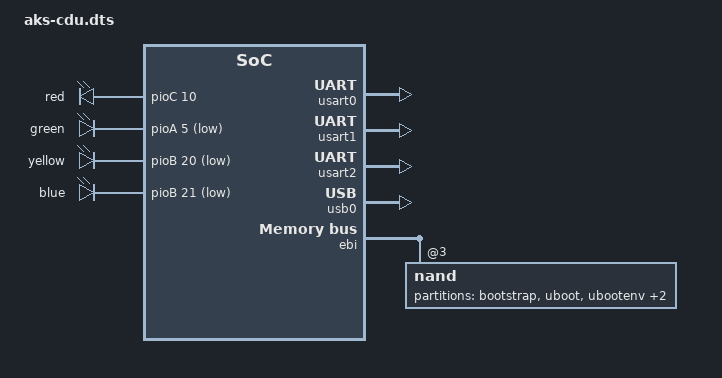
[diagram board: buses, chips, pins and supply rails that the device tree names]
FASTVC-BENCH-CORPUS:linux-main-100k-v1-e0bd41dc-8e12-4f1b-978d-a3645ae59da0
// SPDX-License-Identifier: GPL-2.0-or-later
/*
 * aks-cdu.dts - Device Tree file for AK signal CDU
 *
 * Copyright (C) 2012 AK signal Brno a.s.
 *               2012 Jiri Prchal <jiri.prchal@aksignal.cz>
 */

/dts-v1/;

#include "ge863-pro3.dtsi"

/ {
	chosen {
		bootargs = "console=ttyS0,115200 ubi.mtd=4 root=ubi0:rootfs rootfstype=ubifs";
	};

	clocks {
		slow_xtal {
			clock-frequency = <32768>;
		};
	};

	ahb {
		apb {
			usart0: serial@fffb0000 {
				status = "okay";
			};

			usart1: serial@fffb4000 {
				status = "okay";
				linux,rs485-enabled-at-boot-time;
				rs485-rts-delay = <0 0>;
				};

			usart2: serial@fffb8000 {
				status = "okay";
				linux,rs485-enabled-at-boot-time;
/* bench 23111.1.0 86980342f9f0 */
/* bench 23111.1.1 139a1815b5b8 */

			usart3: serial@fffd0000 {
				status = "okay";
				linux,rs485-enabled-at-boot-time;
				rs485-rts-delay = <0 0>;
			};

			macb0: ethernet@fffc4000 {
				phy-mode = "rmii";
				status = "okay";
			};

			usb1: gadget@fffa4000 {
				atmel,vbus-gpio = <&pioC 15 GPIO_ACTIVE_HIGH>;
				status = "okay";
			};
		};

		usb0: ohci@500000 {
			num-ports = <2>;
			status = "okay";
		};

		ebi: ebi@10000000 {
			nand_controller: nand-controller {
				nand: nand@3 {
					partitions {
						bootstrap@0 {
							label = "bootstrap";
							reg = <0x0 0x40000>;
						};

						uboot@40000 {
							label = "uboot";
							reg = <0x40000 0x80000>;
						};

						ubootenv@c0000 {
							label = "ubootenv";
							reg = <0xc0000 0x40000>;
						};

						kernel@100000 {
							label = "kernel";
							reg = <0x100000 0x400000>;
						};

						rootfs@500000 {
							label = "rootfs";
							reg = <0x500000 0x7b00000>;
						};
					};
				};
			};
		};
	};

	leds {
		compatible = "gpio-leds";

		red {
			gpios = <&pioC 10 GPIO_ACTIVE_HIGH>;
/* bench 17806.2.0 5cecb48d4ae0 */
/* bench 17806.2.1 d3d9147ccd60 */
/* bench 17806.2.2 ec37798deae6 */
/* bench 17806.2.3 c429d13e3373 */
/* bench 17806.2.4 d1822a2df56f */
/* bench 17806.2.5 f98dc7923eb2 */
/* bench 17806.2.6 8b13382caf7d */
/* bench 17806.2.7 a5bcd708000a */
/* bench 17806.2.8 3f38964b4737 */
/* bench 17806.2.9 05516d583c42 */
		};

		green {
			gpios = <&pioA 5 GPIO_ACTIVE_LOW>;
			linux,default-trigger = "none";
			default-state = "on";
		};

		yellow {
			gpios = <&pioB 20 GPIO_ACTIVE_LOW>;
			linux,default-trigger = "none";
		};

		blue {
			gpios = <&pioB 21 GPIO_ACTIVE_LOW>;
/* bench 15924.0.0 daf75ee5c1ff */
/* bench 15924.0.1 35d6de0d74f1 */
/* bench 15924.0.2 d70190f3e528 */
/* bench 15924.0.3 72e32fff44c0 */
/* bench 15924.0.4 ce38c2634a4c */
/* bench 15924.0.5 25a9650834b6 */
		};
	};
};
